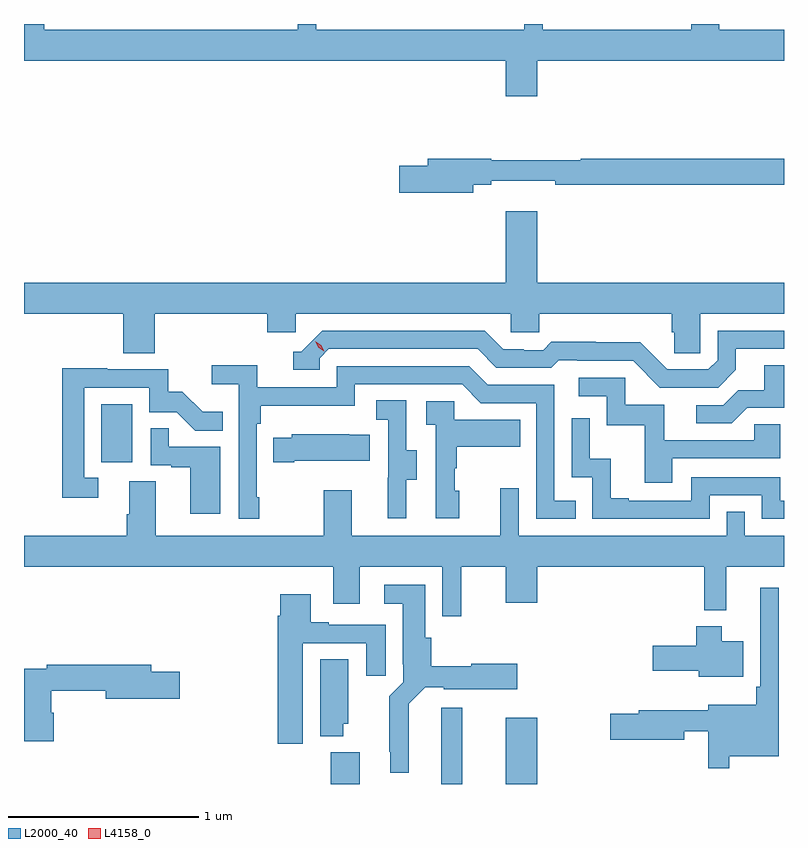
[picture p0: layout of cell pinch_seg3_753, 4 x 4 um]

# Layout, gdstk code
import gdstk
lib = gdstk.Library(unit=1e-6, precision=1e-09)
def R(c, l, rs):  # rectangles x0, y0, x1, y1
    for r in rs: c.add(gdstk.rectangle(r[:2], r[2:], *l))
def P(c, l, *ps):  # polygons
    for p in ps: c.add(gdstk.Polygon(p, *l))
L2000_40 = (2000, 40)
L4158_0 = (4158, 0)

pinch_seg3_753 = lib.new_cell('pinch_seg3_753')
R(pinch_seg3_753, L2000_40, [(835.415,741.065,835.567,741.232), (835.997,741.065,836.107,741.466), (836.336,741.065,836.5,741.415), (834.206,742.758,834.37,743.065)])
P(pinch_seg3_753, L2000_40, [(836.5,744.872),(837.8,744.872),(837.8,745.036),(837.459,745.036),(837.459,745.065),(837.311,745.065),(837.311,745.036),(836.531,745.036),(836.531,745.065),(836.433,745.065),(836.433,745.036),(835.338,745.036),(835.338,745.065),(835.242,745.065),(835.242,745.036),(833.907,745.036),(833.907,745.065),(833.8,745.065),(833.8,744.872),(836.336,744.872),(836.336,744.684),(836.5,744.684)],
  [(836.164,744.22),(836.26,744.22),(836.26,744.239),(836.596,744.239),(836.596,744.22),(837.8,744.22),(837.8,744.356),(836.729,744.356),(836.729,744.349),(836.26,744.349),(836.26,744.356),(835.925,744.356),(835.925,744.32),(835.776,744.32),(835.776,744.178),(836.164,744.178)],
  [(836.361,743.442),(836.511,743.442),(836.511,743.54),(837.209,743.54),(837.209,743.442),(837.223,743.442),(837.223,743.332),(837.36,743.332),(837.36,743.54),(837.8,743.54),(837.8,743.704),(836.5,743.704),(836.5,744.079),(836.336,744.079),(836.336,743.704),(833.8,743.704),(833.8,743.54),(834.323,743.54),(834.323,743.332),(834.488,743.332),(834.488,743.54),(835.079,743.54),(835.079,743.442),(835.23,743.442),(835.23,743.54),(836.361,743.54)],
  [(837.547,743.245),(837.547,743.355),(837.8,743.355),(837.8,743.451),(837.45,743.451),(837.45,743.295),(837.402,743.247),(837.186,743.247),(837.044,743.389),(836.808,743.389),(836.808,743.392),(836.575,743.392),(836.533,743.349),(836.43,743.349),(836.43,743.352),(836.323,743.352),(836.224,743.451),(835.371,743.451),(835.26,743.34),(835.217,743.34),(835.217,743.244),(835.356,743.244),(835.356,743.307),(835.404,743.355),(836.187,743.355),(836.286,743.256),(836.575,743.256),(836.614,743.295),(836.713,743.295),(836.713,743.292),(837.006,743.292),(837.147,743.151),(837.453,743.151)],
  [(835.039,742.573),(835.026,742.573),(835.026,742.961),(835.046,742.961),(835.046,743.057),(835.542,743.057),(835.542,743.169),(836.106,743.169),(836.205,743.07),(836.496,743.07),(836.496,742.461),(836.705,742.461),(836.705,742.557),(836.592,742.557),(836.592,743.166),(836.242,743.166),(836.143,743.265),(835.446,743.265),(835.446,743.154),(835.028,743.154),(835.028,743.27),(834.789,743.27),(834.789,743.168),(834.93,743.168),(834.93,742.461),(835.039,742.461)],
  [(837.607,743.046),(837.8,743.046),(837.8,743.27),(837.695,743.27),(837.695,743.138),(837.56,743.138),(837.48,743.058),(837.339,743.058),(837.339,742.965),(837.526,742.965)],
  [(834.19,742.677),(834.117,742.677),(834.117,743.151),(834.459,743.151),(834.459,743.022),(834.603,743.022),(834.701,742.924),(834.845,742.924),(834.845,743.023),(834.741,743.023),(834.634,743.13),(834.558,743.13),(834.558,743.247),(834.239,743.247),(834.239,743.252),(834.001,743.252),(834.001,742.572),(834.19,742.572)],
  [(837.211,742.779),(837.78,742.779),(837.78,742.959),(837.643,742.959),(837.643,742.875),(837.169,742.875),(837.169,743.061),(836.964,743.061),(836.964,743.202),(836.721,743.202),(836.721,743.106),(836.868,743.106),(836.868,742.953),(837.067,742.953),(837.067,742.65),(837.211,742.65)],
  [(835.813,742.666),(835.867,742.666),(835.867,742.821),(835.812,742.821),(835.812,743.084),(835.653,743.084),(835.653,742.981),(835.716,742.981),(835.716,742.677),(835.715,742.677),(835.715,742.464),(835.813,742.464)],
  [(836.092,742.608),(836.067,742.608),(836.067,742.727),(836.077,742.727),(836.077,742.841),(836.411,742.841),(836.411,742.981),(836.064,742.981),(836.064,743.079),(835.917,743.079),(835.917,742.955),(835.968,742.955),(835.968,742.464),(836.092,742.464)],
  [(837.408,742.584),(837.684,742.584),(837.684,742.461),(837.8,742.461),(837.8,742.557),(837.78,742.557),(837.78,742.68),(837.312,742.68),(837.312,742.557),(836.983,742.557),(836.983,742.57),(836.888,742.57),(836.888,742.778),(836.778,742.778),(836.778,742.99),(836.682,742.99),(836.682,742.68),(836.79,742.68),(836.79,742.461),(837.408,742.461)],
  [(834.832,742.839),(834.563,742.839),(834.563,742.937),(834.468,742.937),(834.468,742.743),(834.575,742.743),(834.575,742.731),(834.674,742.731),(834.674,742.488),(834.832,742.488)],
  [(835.222,742.766),(835.619,742.766),(835.619,742.903),(835.511,742.903),(835.511,742.906),(835.209,742.906),(835.209,742.888),(835.111,742.888),(835.111,742.759),(835.222,742.759)],
  [(836.1,742.208),(836.336,742.208),(836.336,742.02),(836.5,742.02),(836.5,742.208),(837.379,742.208),(837.379,741.98),(837.497,741.98),(837.497,742.208),(837.8,742.208),(837.8,742.372),(837.594,742.372),(837.594,742.499),(837.498,742.499),(837.498,742.372),(836.403,742.372),(836.403,742.621),(836.306,742.621),(836.306,742.372),(835.525,742.372),(835.525,742.612),(835.378,742.612),(835.378,742.372),(834.493,742.372),(834.493,742.658),(834.353,742.658),(834.353,742.484),(834.341,742.484),(834.341,742.372),(833.8,742.372),(833.8,742.208),(835.427,742.208),(835.427,742.014),(835.567,742.014),(835.567,742.208),(836.001,742.208),(836.001,741.948),(836.1,741.948)],
  [(835.825,741.488),(835.911,741.575),(836.01,741.575),(836.01,741.563),(836.395,741.563),(836.395,741.698),(836.154,741.698),(836.154,741.685),(835.943,741.685),(835.943,741.834),(835.912,741.834),(835.912,742.114),(835.695,742.114),(835.695,742.013),(835.793,742.013),(835.793,741.694),(835.797,741.694),(835.797,741.6),(835.723,741.526),(835.723,741.235),(835.727,741.235),(835.727,741.125),(835.825,741.125)],
  [(837.511,741.212),(837.772,741.212),(837.772,742.099),(837.675,742.099),(837.675,741.577),(837.655,741.577),(837.655,741.481),(837.401,741.481),(837.401,741.452),(837.035,741.452),(837.035,741.434),(836.886,741.434),(836.886,741.299),(837.274,741.299),(837.274,741.342),(837.402,741.342),(837.402,741.147),(837.511,741.147)],
  [(835.267,741.807),(835.601,741.807),(835.601,741.636),(835.705,741.636),(835.705,741.903),(835.405,741.903),(835.405,741.916),(835.309,741.916),(835.309,742.063),(835.148,742.063),(835.148,741.95),(835.136,741.95),(835.136,741.276),(835.267,741.276)],
  [(837.586,741.817),(837.472,741.817),(837.472,741.895),(837.338,741.895),(837.338,741.792),(837.108,741.792),(837.108,741.662),(837.35,741.662),(837.35,741.629),(837.586,741.629)],
  [(835.48,741.381),(835.507,741.381),(835.507,741.722),(835.358,741.722),(835.358,741.317),(835.48,741.317)],
  [(833.957,741.441),(833.944,741.441),(833.944,741.556),(834.23,741.556),(834.23,741.514),(834.619,741.514),(834.619,741.656),(834.469,741.656),(834.469,741.692),(833.92,741.692),(833.92,741.672),(833.8,741.672),(833.8,741.291),(833.957,741.291)])
P(pinch_seg3_753, L4158_0, [(835.38,743.342),(835.35,743.361),(835.334,743.394),(835.334,743.394),(835.334,743.394),(835.365,743.374),(835.381,743.342),(835.381,743.342)])

lib.write_gds('pinch_seg3_753.gds')
